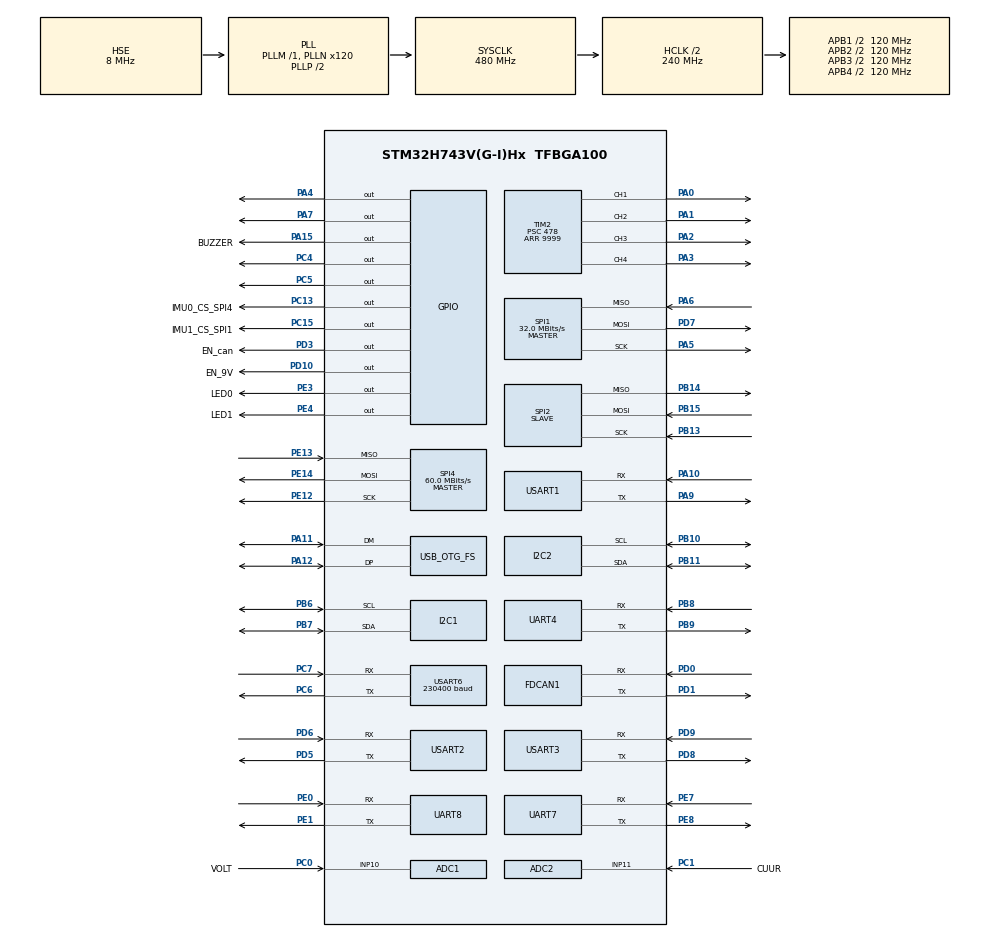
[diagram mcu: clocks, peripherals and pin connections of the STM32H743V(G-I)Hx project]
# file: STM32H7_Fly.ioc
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ADC1.Channel-1\#ChannelRegularConversion=ADC_CHANNEL_10
ADC1.ClockPrescaler=ADC_CLOCK_ASYNC_DIV2
ADC1.NbrOfConversionFlag=1
ADC1.OffsetNumber-1\#ChannelRegularConversion=ADC_OFFSET_NONE
ADC1.OffsetSignedSaturation-1\#ChannelRegularConversion=DISABLE
ADC1.Rank-1\#ChannelRegularConversion=1
ADC1.SamplingTime-1\#ChannelRegularConversion=ADC_SAMPLETIME_1CYCLE_5
ADC1.master=1
ADC2.Channel-0\#ChannelRegularConversion=ADC_CHANNEL_11
ADC2.ClockPrescaler=ADC_CLOCK_ASYNC_DIV2
ADC2.NbrOfConversionFlag=1
ADC2.OffsetNumber-0\#ChannelRegularConversion=ADC_OFFSET_NONE
ADC2.OffsetSignedSaturation-0\#ChannelRegularConversion=DISABLE
ADC2.Rank-0\#ChannelRegularConversion=1
ADC2.SamplingTime-0\#ChannelRegularConversion=ADC_SAMPLETIME_1CYCLE_5
CORTEX_M7.default_mode_Activation=1
FDCAN1.CalculateBaudRateNominal=1333333
FDCAN1.CalculateTimeBitNominal=750
FDCAN1.CalculateTimeQuantumNominal=250.0
I2C1.Timing=0x307075B1
I2C2.Timing=0x307075B1
Mcu.Family=STM32H7
Mcu.Name=STM32H743V(G-I)Hx
Mcu.Package=TFBGA100
NVIC.ADC_IRQn=true\:0\:0\:false\:false\:true\:true\:true\:true
NVIC.PriorityGroup=NVIC_PRIORITYGROUP_4
NVIC.TIM7_IRQn=true\:0\:0\:false\:false\:true\:true\:true\:true
NVIC.USART6_IRQn=true\:0\:0\:false\:false\:true\:true\:true\:true
PA0.Signal=S_TIM2_CH1_ETR
PA1.Signal=S_TIM2_CH2
PA10.Mode=Asynchronous
PA10.Signal=USART1_RX
PA11.Mode=Host_Only
PA11.Signal=USB_OTG_FS_DM
PA12.Mode=Host_Only
PA12.Signal=USB_OTG_FS_DP
PA13\ (JTMS/SWDIO).Signal=DEBUG_JTMS-SWDIO
PA14\ (JTCK/SWCLK).Signal=DEBUG_JTCK-SWCLK
PA15\ (JTDI).GPIO_Label=BUZZER
PA15\ (JTDI).GPIO_PuPd=GPIO_PULLDOWN
PA15\ (JTDI).Signal=GPIO_Output
PA2.Signal=S_TIM2_CH3
PA3.Signal=S_TIM2_CH4
PA4.Signal=GPIO_Output
PA5.Mode=Full_Duplex_Master
PA5.Signal=SPI1_SCK
PA6.Mode=Full_Duplex_Master
PA6.Signal=SPI1_MISO
PA7.Signal=GPIO_Output
PA9.Mode=Asynchronous
PA9.Signal=USART1_TX
PB10.Mode=I2C
PB10.Signal=I2C2_SCL
PB11.Mode=I2C
PB11.Signal=I2C2_SDA
PB13.Mode=Full_Duplex_Slave
PB13.Signal=SPI2_SCK
PB14.Mode=Full_Duplex_Slave
PB14.Signal=SPI2_MISO
PB15.Mode=Full_Duplex_Slave
PB15.Signal=SPI2_MOSI
PB6.Mode=I2C
PB6.Signal=I2C1_SCL
PB7.Mode=I2C
PB7.Signal=I2C1_SDA
PB8.Mode=Asynchronous
PB8.Signal=UART4_RX
PB9.Mode=Asynchronous
PB9.Signal=UART4_TX
PC0.GPIO_Label=VOLT
PC0.Signal=ADCx_INP10
PC1.GPIO_Label=CUUR
PC1.Signal=ADCx_INP11
PC10.Signal=SDMMC1_D2
PC11.Signal=SDMMC1_D3
PC12.Signal=SDMMC1_CK
PC13.GPIO_Label=IMU0_CS_SPI4
PC13.GPIO_PuPd=GPIO_PULLUP
PC13.PinState=GPIO_PIN_SET
PC13.Signal=GPIO_Output
PC15-OSC32_OUT\ (OSC32_OUT).GPIO_Label=IMU1_CS_SPI1
PC15-OSC32_OUT\ (OSC32_OUT).GPIO_PuPd=GPIO_PULLUP
PC15-OSC32_OUT\ (OSC32_OUT).PinState=GPIO_PIN_SET
PC15-OSC32_OUT\ (OSC32_OUT).Signal=GPIO_Output
PC4.Signal=GPIO_Output
PC5.Signal=GPIO_Output
PC6.Mode=Asynchronous
PC6.Signal=USART6_TX
PC7.Mode=Asynchronous
PC7.Signal=USART6_RX
PC8.Signal=SDMMC1_D0
PC9.Signal=SDMMC1_D1
PD0.Mode=FDCAN_Activate
PD0.Signal=FDCAN1_RX
PD1.Mode=FDCAN_Activate
PD1.Signal=FDCAN1_TX
PD10.GPIO_Label=EN_9V
PD10.GPIO_ModeDefaultOutputPP=GPIO_MODE_OUTPUT_PP
PD10.GPIO_PuPd=GPIO_PULLDOWN
PD10.PinState=GPIO_PIN_RESET
PD10.Signal=GPIO_Output
PD2.Signal=SDMMC1_CMD
PD3.GPIO_Label=EN_can
PD3.GPIO_PuPd=GPIO_PULLUP
PD3.PinState=GPIO_PIN_SET
PD3.Signal=GPIO_Output
PD5.Mode=Asynchronous
PD5.Signal=USART2_TX
PD6.Mode=Asynchronous
PD6.Signal=USART2_RX
PD7.Mode=Full_Duplex_Master
PD7.Signal=SPI1_MOSI
PD8.Mode=Asynchronous
PD8.Signal=USART3_TX
PD9.Mode=Asynchronous
PD9.Signal=USART3_RX
PE0.Mode=Asynchronous
PE0.Signal=UART8_RX
PE1.Mode=Asynchronous
PE1.Signal=UART8_TX
PE12.Mode=Full_Duplex_Master
PE12.Signal=SPI4_SCK
PE13.Mode=Full_Duplex_Master
PE13.Signal=SPI4_MISO
PE14.Mode=Full_Duplex_Master
PE14.Signal=SPI4_MOSI
PE3.GPIO_Label=LED0
PE3.GPIO_PuPd=GPIO_PULLUP
PE3.PinState=GPIO_PIN_SET
PE3.Signal=GPIO_Output
PE4.GPIO_Label=LED1
PE4.GPIO_ModeDefaultOutputPP=GPIO_MODE_OUTPUT_PP
PE4.GPIO_PuPd=GPIO_PULLUP
PE4.PinState=GPIO_PIN_SET
PE4.Signal=GPIO_Output
PE7.Mode=Asynchronous
PE7.Signal=UART7_RX
PE8.Mode=Asynchronous
PE8.Signal=UART7_TX
PH0-OSC_IN\ (PH0).Mode=HSE-External-Oscillator
PH0-OSC_IN\ (PH0).Signal=RCC_OSC_IN
PH1-OSC_OUT\ (PH1).Mode=HSE-External-Oscillator
PH1-OSC_OUT\ (PH1).Signal=RCC_OSC_OUT
ProjectManager.HeapSize=0x200
ProjectManager.StackSize=0x400
ProjectManager.TargetToolchain=Makefile
RCC.ADCFreq_Value=76000000
RCC.APB1Freq_Value=120000000
RCC.APB2Freq_Value=120000000
RCC.APB3Freq_Value=120000000
RCC.APB4Freq_Value=120000000
RCC.CortexFreq_Value=480000000
RCC.D1PPRE=RCC_APB3_DIV2
RCC.D2PPRE1=RCC_APB1_DIV2
RCC.D2PPRE2=RCC_APB2_DIV2
RCC.D3PPRE=RCC_APB4_DIV2
RCC.DIVM1=1
RCC.DIVM2=1
RCC.DIVN1=120
RCC.DIVN2=19
RCC.DIVQ1=15
RCC.HCLKFreq_Value=240000000
RCC.HPRE=RCC_HCLK_DIV2
RCC.HSE_VALUE=8000000
RCC.PLL2FRACN=0
RCC.PLL2_VCI_Range-AdvancedSettings=RCC_PLL2VCIRANGE_0
RCC.PLL2_VCO_SEL-AdvancedSettings=RCC_PLL2VCOMEDIUM
RCC.PLL3_VCO_SEL-AdvancedSettings=RCC_PLL3VCOMEDIUM
RCC.PLLFRACN=0
RCC.PREFETCH_ENABLE=1
RCC.SYSCLKFreq_VALUE=480000000
RCC.SYSCLKSource=RCC_SYSCLKSOURCE_PLLCLK
RCC.USBFreq_Value=64000000
SH.ADCx_INP10.0=ADC1_INP10,IN10-Single-Ended
SH.ADCx_INP11.0=ADC2_INP11,IN11-Single-Ended
SH.S_TIM2_CH1_ETR.0=TIM2_CH1,PWM Generation1 CH1
SH.S_TIM2_CH2.0=TIM2_CH2,PWM Generation2 CH2
SH.S_TIM2_CH3.0=TIM2_CH3,PWM Generation3 CH3
SH.S_TIM2_CH4.0=TIM2_CH4,PWM Generation4 CH4
SPI1.CalculateBaudRate=32.0 MBits/s
SPI1.Direction=SPI_DIRECTION_2LINES
SPI1.Mode=SPI_MODE_MASTER
SPI1.VirtualType=VM_MASTER
SPI2.Direction=SPI_DIRECTION_2LINES
SPI2.Mode=SPI_MODE_SLAVE
SPI2.VirtualType=VM_SLAVE
SPI4.CalculateBaudRate=60.0 MBits/s
SPI4.Direction=SPI_DIRECTION_2LINES
SPI4.Mode=SPI_MODE_MASTER
SPI4.VirtualType=VM_MASTER
TIM2.Channel-PWM\ Generation1\ CH1=TIM_CHANNEL_1
TIM2.Channel-PWM\ Generation2\ CH2=TIM_CHANNEL_2
TIM2.Channel-PWM\ Generation3\ CH3=TIM_CHANNEL_3
TIM2.Channel-PWM\ Generation4\ CH4=TIM_CHANNEL_4
TIM2.Period=9999
TIM2.Prescaler=478
TIM7.Period=999
TIM7.Prescaler=239
USART1.VirtualMode-Asynchronous=VM_ASYNC
USART2.VirtualMode-Asynchronous=VM_ASYNC
USART3.VirtualMode-Asynchronous=VM_ASYNC
USART6.BaudRate=230400
USART6.VirtualMode=VM_ASYNC
USB_OTG_FS.VirtualMode=Host_Only
USB_OTG_FS.phy_itface=HCD_PHY_EMBEDDED
VP_MEMORYMAP_VS_MEMORYMAP.Mode=CurAppReg
VP_TIM2_VS_ClockSourceINT.Mode=Internal
VP_TIM7_VS_ClockSourceINT.Mode=Enable_Timer
board=custom

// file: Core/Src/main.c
/* USER CODE BEGIN Header */
/**
 ******************************************************************************
 * @file           : main.c
 * @brief          : Main program body
 ******************************************************************************
 * @attention
 *
 * Copyright (c) 2025 STMicroelectronics.
 * All rights reserved.
 *
 * This software is licensed under terms that can be found in the LICENSE file
 * in the root directory of this software component.
 * If no LICENSE file comes with this software, it is provided AS-IS.
 *
 ******************************************************************************
 */
/* USER CODE END Header */
#include "main.h"
#include "adc.h"
#include "fdcan.h"
#include "i2c.h"
#include "memorymap.h"
#include "spi.h"
#include "tim.h"
#include "usart.h"
#include "usb_otg.h"
#include "gpio.h"

/* USER CODE BEGIN Includes */
#include <stdio.h>
#include "Inint_Process.h"
/* USER CODE END Includes */

void SystemClock_Config(void);
void PeriphCommonClock_Config(void);
static void MPU_Config(void);

int main(void)
{

  /* MPU Configuration--------------------------------------------------------*/
  MPU_Config();

  /* MCU Configuration--------------------------------------------------------*/

  /* Reset of all peripherals, Initializes the Flash interface and the Systick. */
  HAL_Init();

  /* Configure the system clock */
  SystemClock_Config();

  /* Configure the peripherals common clocks */
  PeriphCommonClock_Config();

  /* Initialize all configured peripherals */
  MX_GPIO_Init();
  MX_I2C1_Init();
  MX_I2C2_Init();
  MX_FDCAN1_Init();
  MX_SPI1_Init();
  MX_SPI2_Init();
  MX_SPI4_Init();
  MX_UART4_Init();
  MX_UART7_Init();
  MX_UART8_Init();
  MX_USART1_UART_Init();
  MX_USART2_UART_Init();
  MX_USART3_UART_Init();
  MX_USART6_UART_Init();
  MX_ADC2_Init();
  MX_USB_OTG_FS_HCD_Init();
  MX_ADC1_Init();
  MX_TIM7_Init();
  MX_TIM2_Init();
  /* USER CODE BEGIN 2 */
  Use_Init();
  /* USER CODE END 2 */

  /* Infinite loop */
  /* USER CODE BEGIN WHILE */
  while (1)
  {
    While_Process();
    /* USER CODE END WHILE */

  }
}

void SystemClock_Config(void)
{
  RCC_OscInitTypeDef RCC_OscInitStruct = {0};
  RCC_ClkInitTypeDef RCC_ClkInitStruct = {0};

  /** Supply configuration update enable
  */
  HAL_PWREx_ConfigSupply(PWR_LDO_SUPPLY);

  /** Configure the main internal regulator output voltage
  */
  __HAL_PWR_VOLTAGESCALING_CONFIG(PWR_REGULATOR_VOLTAGE_SCALE0);

  while(!__HAL_PWR_GET_FLAG(PWR_FLAG_VOSRDY)) {}

  /** Initializes the RCC Oscillators according to the specified parameters
  * in the RCC_OscInitTypeDef structure.
  */
  RCC_OscInitStruct.OscillatorType = RCC_OSCILLATORTYPE_HSE;
  RCC_OscInitStruct.HSEState = RCC_HSE_ON;
  RCC_OscInitStruct.PLL.PLLState = RCC_PLL_ON;
  RCC_OscInitStruct.PLL.PLLSource = RCC_PLLSOURCE_HSE;
  RCC_OscInitStruct.PLL.PLLM = 1;
  RCC_OscInitStruct.PLL.PLLN = 120;
  RCC_OscInitStruct.PLL.PLLP = 2;
  RCC_OscInitStruct.PLL.PLLQ = 15;
  RCC_OscInitStruct.PLL.PLLR = 2;
  RCC_OscInitStruct.PLL.PLLRGE = RCC_PLL1VCIRANGE_3;
  RCC_OscInitStruct.PLL.PLLVCOSEL = RCC_PLL1VCOWIDE;
  RCC_OscInitStruct.PLL.PLLFRACN = 0;
  if (HAL_RCC_OscConfig(&RCC_OscInitStruct) != HAL_OK)
  {
    Error_Handler();
  }

  /** Initializes the CPU, AHB and APB buses clocks
  */
  RCC_ClkInitStruct.ClockType = RCC_CLOCKTYPE_HCLK|RCC_CLOCKTYPE_SYSCLK
                              |RCC_CLOCKTYPE_PCLK1|RCC_CLOCKTYPE_PCLK2
                              |RCC_CLOCKTYPE_D3PCLK1|RCC_CLOCKTYPE_D1PCLK1;
  RCC_ClkInitStruct.SYSCLKSource = RCC_SYSCLKSOURCE_PLLCLK;
  RCC_ClkInitStruct.SYSCLKDivider = RCC_SYSCLK_DIV1;
  RCC_ClkInitStruct.AHBCLKDivider = RCC_HCLK_DIV2;
  RCC_ClkInitStruct.APB3CLKDivider = RCC_APB3_DIV2;
  RCC_ClkInitStruct.APB1CLKDivider = RCC_APB1_DIV2;
  RCC_ClkInitStruct.APB2CLKDivider = RCC_APB2_DIV2;
  RCC_ClkInitStruct.APB4CLKDivider = RCC_APB4_DIV2;

  if (HAL_RCC_ClockConfig(&RCC_ClkInitStruct, FLASH_LATENCY_4) != HAL_OK)
  {
    Error_Handler();
  }
}

void PeriphCommonClock_Config(void)
{
  RCC_PeriphCLKInitTypeDef PeriphClkInitStruct = {0};

  /** Initializes the peripherals clock
  */
  PeriphClkInitStruct.PeriphClockSelection = RCC_PERIPHCLK_ADC;
  PeriphClkInitStruct.PLL2.PLL2M = 1;
  PeriphClkInitStruct.PLL2.PLL2N = 19;
  PeriphClkInitStruct.PLL2.PLL2P = 2;
  PeriphClkInitStruct.PLL2.PLL2Q = 2;
  PeriphClkInitStruct.PLL2.PLL2R = 2;
  PeriphClkInitStruct.PLL2.PLL2RGE = RCC_PLL2VCIRANGE_3;
  PeriphClkInitStruct.PLL2.PLL2VCOSEL = RCC_PLL2VCOMEDIUM;
  PeriphClkInitStruct.PLL2.PLL2FRACN = 0;
  PeriphClkInitStruct.AdcClockSelection = RCC_ADCCLKSOURCE_PLL2;
  if (HAL_RCCEx_PeriphCLKConfig(&PeriphClkInitStruct) != HAL_OK)
  {
    Error_Handler();
  }
}

/* USER CODE BEGIN 4 */
#if defined(__CC_ARM) || defined(__CLANG_ARM) || defined(__ARMCC_VERSION)
int fputc(int ch, FILE *f)
{
  HAL_UART_Transmit(&huart6, (uint8_t *)&ch, 1, HAL_MAX_DELAY);
  return ch;
}
#elif defined(__GNUC__)
#define STDOUT_FILENO 1
#define STDERR_FILENO 2

int _write(int file, char *ptr, int len)
{
  switch (file)
  {
  case STDOUT_FILENO:
    HAL_UART_Transmit(&huart6, (uint8_t *)ptr, len, HAL_MAX_DELAY);
    break;

  case STDERR_FILENO:
    HAL_UART_Transmit(&huart6, (uint8_t *)ptr, len, HAL_MAX_DELAY);
    break;

  default:
    return -1;
  }
  return len;
}
#endif

/* USER CODE END 4 */

 /* MPU Configuration */

void MPU_Config(void)
{
  MPU_Region_InitTypeDef MPU_InitStruct = {0};

  /* Disables the MPU */
  HAL_MPU_Disable();

  /** Initializes and configures the Region and the memory to be protected
  */
  MPU_InitStruct.Enable = MPU_REGION_ENABLE;
  MPU_InitStruct.Number = MPU_REGION_NUMBER0;
  MPU_InitStruct.BaseAddress = 0x0;
  MPU_InitStruct.Size = MPU_REGION_SIZE_4GB;
  MPU_InitStruct.SubRegionDisable = 0x87;
  MPU_InitStruct.TypeExtField = MPU_TEX_LEVEL0;
  MPU_InitStruct.AccessPermission = MPU_REGION_NO_ACCESS;
  MPU_InitStruct.DisableExec = MPU_INSTRUCTION_ACCESS_DISABLE;
  MPU_InitStruct.IsShareable = MPU_ACCESS_SHAREABLE;
  MPU_InitStruct.IsCacheable = MPU_ACCESS_NOT_CACHEABLE;
  MPU_InitStruct.IsBufferable = MPU_ACCESS_NOT_BUFFERABLE;

  HAL_MPU_ConfigRegion(&MPU_InitStruct);
  /* Enables the MPU */
  HAL_MPU_Enable(MPU_PRIVILEGED_DEFAULT);

}

void Error_Handler(void)
{
  __disable_irq();
  while (1)
  {
  }
}
